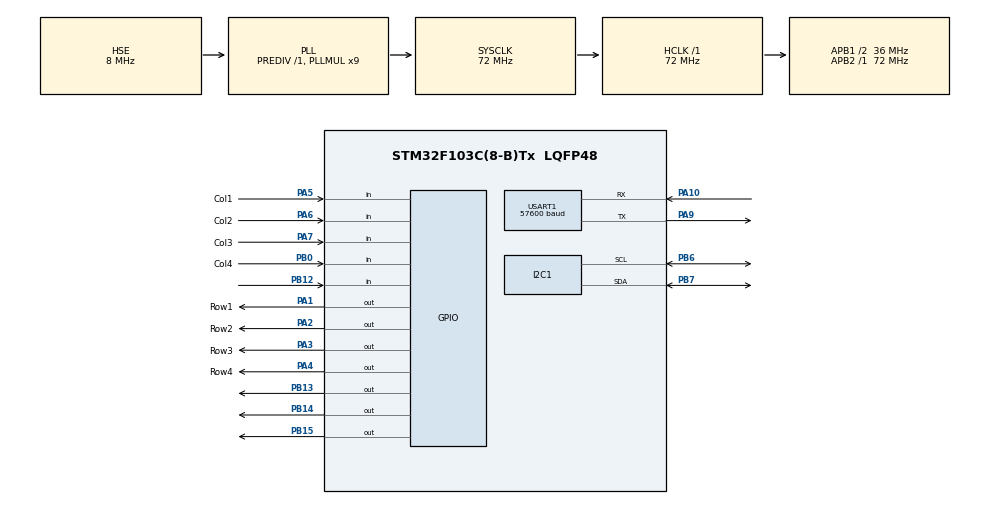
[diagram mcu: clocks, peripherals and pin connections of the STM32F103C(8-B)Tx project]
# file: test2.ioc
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FREERTOS.Tasks01=keypadTask,24,256,StartKeypadTask,Default,NULL,Dynamic,NULL,NULL;fingerTask,24,256,StartFingerprintTask,Default,NULL,Dynamic,NULL,NULL;lcdTask,8,256,StartLcdTask,Default,NULL,Dynamic,NULL,NULL;relayTask,8,256,StartRelayTask,Default,NULL,Dynamic,NULL,NULL
FREERTOS.configTOTAL_HEAP_SIZE=5000
Mcu.Family=STM32F1
Mcu.Name=STM32F103C(8-B)Tx
Mcu.Package=LQFP48
NVIC.PriorityGroup=NVIC_PRIORITYGROUP_4
PA1.GPIO_Label=Row1
PA1.Signal=GPIO_Output
PA10.Mode=Asynchronous
PA10.Signal=USART1_RX
PA13.Mode=JTAG_5_pins
PA13.Signal=SYS_JTMS-SWDIO
PA14.Mode=JTAG_5_pins
PA14.Signal=SYS_JTCK-SWCLK
PA15.Mode=JTAG_5_pins
PA15.Signal=SYS_JTDI
PA2.GPIO_Label=Row2
PA2.Signal=GPIO_Output
PA3.GPIO_Label=Row3
PA3.Signal=GPIO_Output
PA4.GPIO_Label=Row4
PA4.PinState=GPIO_PIN_RESET
PA4.Signal=GPIO_Output
PA5.GPIO_Label=Col1
PA5.GPIO_PuPd=GPIO_PULLUP
PA5.Signal=GPIO_Input
PA6.GPIO_Label=Col2
PA6.GPIO_PuPd=GPIO_PULLUP
PA6.Signal=GPIO_Input
PA7.GPIO_Label=Col3
PA7.GPIO_PuPd=GPIO_PULLUP
PA7.Signal=GPIO_Input
PA9.Mode=Asynchronous
PA9.Signal=USART1_TX
PB0.GPIO_Label=Col4
PB0.GPIO_PuPd=GPIO_PULLUP
PB0.Signal=GPIO_Input
PB12.GPIO_PuPd=GPIO_PULLUP
PB12.Signal=GPIO_Input
PB13.Signal=GPIO_Output
PB14.PinState=GPIO_PIN_SET
PB14.Signal=GPIO_Output
PB15.PinState=GPIO_PIN_SET
PB15.Signal=GPIO_Output
PB3.Mode=JTAG_5_pins
PB3.Signal=SYS_JTDO-TRACESWO
PB4.Mode=JTAG_5_pins
PB4.Signal=SYS_NJTRST
PB6.Mode=I2C
PB6.Signal=I2C1_SCL
PB7.Mode=I2C
PB7.Signal=I2C1_SDA
PD0-OSC_IN.Mode=HSE-External-Oscillator
PD0-OSC_IN.Signal=RCC_OSC_IN
PD1-OSC_OUT.Mode=HSE-External-Oscillator
PD1-OSC_OUT.Signal=RCC_OSC_OUT
ProjectManager.HeapSize=0x200
ProjectManager.StackSize=0x400
ProjectManager.TargetToolchain=STM32CubeIDE
RCC.AHBFreq_Value=72000000
RCC.APB1CLKDivider=RCC_HCLK_DIV2
RCC.APB1Freq_Value=36000000
RCC.APB1TimFreq_Value=72000000
RCC.APB2Freq_Value=72000000
RCC.APB2TimFreq_Value=72000000
RCC.HCLKFreq_Value=72000000
RCC.PLLMUL=RCC_PLL_MUL9
RCC.PLLSourceVirtual=RCC_PLLSOURCE_HSE
RCC.SYSCLKFreq_VALUE=72000000
RCC.SYSCLKSource=RCC_SYSCLKSOURCE_PLLCLK
RCC.USBFreq_Value=72000000
USART1.BaudRate=57600
USART1.VirtualMode=VM_ASYNC
VP_FREERTOS_VS_CMSIS_V2.Mode=CMSIS_V2
board=custom

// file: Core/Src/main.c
/* USER CODE BEGIN Header */
/**
  ******************************************************************************
  * @file           : main.c
  * @brief          : Main program body
  ******************************************************************************
  * @attention
  *
  * Copyright (c) 2025 STMicroelectronics.
  * All rights reserved.
  *
  * This software is licensed under terms that can be found in the LICENSE file
  * in the root directory of this software component.
  * If no LICENSE file comes with this software, it is provided AS-IS.
  *
  ******************************************************************************
  */
/* USER CODE END Header */
#include "main.h"
#include "cmsis_os.h"
#include "keypad.h"
#include "liquidcrystal_i2c.h"
#include "lcd.h"
#include <stdbool.h>
#include "fingerprint.h"
#include <stdint.h>
#include "relay.h"
#include "ssd1306.h"
#include "ssd1306_fonts.h"
#include "ds1307_for_stm32_hal.h"
#include "stdio.h"
#include "string.h"
#include "oled.h"

// Định nghĩa biến toàn cục
OLED_Mode_t oled_mode = OLED_MAIN;
volatile uint8_t finger_busy = 0; // 0 = bình thường, 1 = đang enroll
extern int change_mode; // biến bạn đang dùng trong keypad.c
uint32_t message_timestamp = 0;  // lưu thời điểm bắt đầu hiển thị message
uint32_t message_duration = 0;   // thời gian hiển thị (ms)

I2C_HandleTypeDef hi2c1;

UART_HandleTypeDef huart1;

/* Definitions for keypadTask */
osThreadId_t keypadTaskHandle;
const osThreadAttr_t keypadTask_attributes = {
  .name = "keypadTask",
  .stack_size = 256 * 4,
  .priority = (osPriority_t) osPriorityNormal,
};
/* Definitions for fingerTask */
osThreadId_t fingerTaskHandle;
const osThreadAttr_t fingerTask_attributes = {
  .name = "fingerTask",
  .stack_size = 256 * 4,
  .priority = (osPriority_t) osPriorityNormal,
};
/* Definitions for lcdTask */
osThreadId_t lcdTaskHandle;
const osThreadAttr_t lcdTask_attributes = {
  .name = "lcdTask",
  .stack_size = 256 * 4,
  .priority = (osPriority_t) osPriorityLow,
};
/* Definitions for relayTask */
osThreadId_t relayTaskHandle;
const osThreadAttr_t relayTask_attributes = {
  .name = "relayTask",
  .stack_size = 256 * 4,
  .priority = (osPriority_t) osPriorityLow,
};

void SystemClock_Config(void);
static void MX_GPIO_Init(void);
static void MX_I2C1_Init(void);
static void MX_USART1_UART_Init(void);
void StartKeypadTask(void *argument);
void StartFingerprintTask(void *argument);
void StartLcdTask(void *argument);
void StartRelayTask(void *argument);

int main(void)
{

  /* MCU Configuration--------------------------------------------------------*/

  /* Reset of all peripherals, Initializes the Flash interface and the Systick. */
  HAL_Init();

  /* Configure the system clock */
  SystemClock_Config();

  /* Initialize all configured peripherals */
  MX_GPIO_Init();
  MX_I2C1_Init();
  MX_USART1_UART_Init();
  DS1307_Init(&hi2c1);
  /* USER CODE BEGIN 2 */
  ssd1306_Init();
  init_fingerprint();      // !!! Phải gọi trước khi check hoặc enroll
  keypad_init();
  RTC_SetDateTime();

  /* USER CODE END 2 */

  /* Init scheduler */
  osKernelInitialize();

  /* Create the thread(s) */
  /* creation of keypadTask */
  keypadTaskHandle = osThreadNew(StartKeypadTask, NULL, &keypadTask_attributes);

  /* creation of fingerTask */
  fingerTaskHandle = osThreadNew(StartFingerprintTask, NULL, &fingerTask_attributes);

  /* creation of lcdTask */
  lcdTaskHandle = osThreadNew(StartLcdTask, NULL, &lcdTask_attributes);

  /* creation of relayTask */
  relayTaskHandle = osThreadNew(StartRelayTask, NULL, &relayTask_attributes);

  /* Start scheduler */
  osKernelStart();

  /* We should never get here as control is now taken by the scheduler */

  /* Infinite loop */
  while (1)
  {

  }
}

void SystemClock_Config(void)
{
  RCC_OscInitTypeDef RCC_OscInitStruct = {0};
  RCC_ClkInitTypeDef RCC_ClkInitStruct = {0};

  /** Initializes the RCC Oscillators according to the specified parameters
  * in the RCC_OscInitTypeDef structure.
  */
  RCC_OscInitStruct.OscillatorType = RCC_OSCILLATORTYPE_HSE;
  RCC_OscInitStruct.HSEState = RCC_HSE_ON;
  RCC_OscInitStruct.HSEPredivValue = RCC_HSE_PREDIV_DIV1;
  RCC_OscInitStruct.HSIState = RCC_HSI_ON;
  RCC_OscInitStruct.PLL.PLLState = RCC_PLL_ON;
  RCC_OscInitStruct.PLL.PLLSource = RCC_PLLSOURCE_HSE;
  RCC_OscInitStruct.PLL.PLLMUL = RCC_PLL_MUL9;
  if (HAL_RCC_OscConfig(&RCC_OscInitStruct) != HAL_OK)
  {
    Error_Handler();
  }

  /** Initializes the CPU, AHB and APB buses clocks
  */
  RCC_ClkInitStruct.ClockType = RCC_CLOCKTYPE_HCLK|RCC_CLOCKTYPE_SYSCLK
                              |RCC_CLOCKTYPE_PCLK1|RCC_CLOCKTYPE_PCLK2;
  RCC_ClkInitStruct.SYSCLKSource = RCC_SYSCLKSOURCE_PLLCLK;
  RCC_ClkInitStruct.AHBCLKDivider = RCC_SYSCLK_DIV1;
  RCC_ClkInitStruct.APB1CLKDivider = RCC_HCLK_DIV2;
  RCC_ClkInitStruct.APB2CLKDivider = RCC_HCLK_DIV1;

  if (HAL_RCC_ClockConfig(&RCC_ClkInitStruct, FLASH_LATENCY_2) != HAL_OK)
  {
    Error_Handler();
  }
}

static void MX_I2C1_Init(void)
{

  hi2c1.Instance = I2C1;
  hi2c1.Init.ClockSpeed = 100000;
  hi2c1.Init.DutyCycle = I2C_DUTYCYCLE_2;
  hi2c1.Init.OwnAddress1 = 0;
  hi2c1.Init.AddressingMode = I2C_ADDRESSINGMODE_7BIT;
  hi2c1.Init.DualAddressMode = I2C_DUALADDRESS_DISABLE;
  hi2c1.Init.OwnAddress2 = 0;
  hi2c1.Init.GeneralCallMode = I2C_GENERALCALL_DISABLE;
  hi2c1.Init.NoStretchMode = I2C_NOSTRETCH_DISABLE;
  if (HAL_I2C_Init(&hi2c1) != HAL_OK)
  {
    Error_Handler();
  }

}

static void MX_USART1_UART_Init(void)
{

  huart1.Instance = USART1;
  huart1.Init.BaudRate = 57600;
  huart1.Init.WordLength = UART_WORDLENGTH_8B;
  huart1.Init.StopBits = UART_STOPBITS_1;
  huart1.Init.Parity = UART_PARITY_NONE;
  huart1.Init.Mode = UART_MODE_TX_RX;
  huart1.Init.HwFlowCtl = UART_HWCONTROL_NONE;
  huart1.Init.OverSampling = UART_OVERSAMPLING_16;
  if (HAL_UART_Init(&huart1) != HAL_OK)
  {
    Error_Handler();
  }

}

static void MX_GPIO_Init(void)
{
  GPIO_InitTypeDef GPIO_InitStruct = {0};

  /* GPIO Ports Clock Enable */
  __HAL_RCC_GPIOD_CLK_ENABLE();
  __HAL_RCC_GPIOA_CLK_ENABLE();
  __HAL_RCC_GPIOB_CLK_ENABLE();

  /*Configure GPIO pin Output Level */
  HAL_GPIO_WritePin(GPIOA, Row1_Pin|Row2_Pin|Row3_Pin|Row4_Pin, GPIO_PIN_RESET);

  /*Configure GPIO pin Output Level */
    HAL_GPIO_WritePin(GPIOB, GPIO_PIN_13, GPIO_PIN_SET);

    /*Configure GPIO pin Output Level */
    HAL_GPIO_WritePin(GPIOB, GPIO_PIN_15, GPIO_PIN_SET);
    HAL_GPIO_WritePin(GPIOB, GPIO_PIN_14, GPIO_PIN_RESET);

  /*Configure GPIO pins : Row1_Pin Row2_Pin Row3_Pin Row4_Pin */
  GPIO_InitStruct.Pin = Row1_Pin|Row2_Pin|Row3_Pin|Row4_Pin;
  GPIO_InitStruct.Mode = GPIO_MODE_OUTPUT_PP;
  GPIO_InitStruct.Pull = GPIO_NOPULL;
  GPIO_InitStruct.Speed = GPIO_SPEED_FREQ_LOW;
  HAL_GPIO_Init(GPIOA, &GPIO_InitStruct);

  /*Configure GPIO pins : Col1_Pin Col2_Pin Col3_Pin */
  GPIO_InitStruct.Pin = Col1_Pin|Col2_Pin|Col3_Pin;
  GPIO_InitStruct.Mode = GPIO_MODE_INPUT;
  GPIO_InitStruct.Pull = GPIO_PULLUP;
  HAL_GPIO_Init(GPIOA, &GPIO_InitStruct);

  /*Configure GPIO pins : Col4_Pin PB12 */
  GPIO_InitStruct.Pin = Col4_Pin|GPIO_PIN_12;
  GPIO_InitStruct.Mode = GPIO_MODE_INPUT;
  GPIO_InitStruct.Pull = GPIO_PULLUP;
  HAL_GPIO_Init(GPIOB, &GPIO_InitStruct);

  /*Configure GPIO pins : PB13 PB14 PB15 */
  GPIO_InitStruct.Pin = GPIO_PIN_13|GPIO_PIN_14|GPIO_PIN_15;
  GPIO_InitStruct.Mode = GPIO_MODE_OUTPUT_PP;
  GPIO_InitStruct.Pull = GPIO_NOPULL;
  GPIO_InitStruct.Speed = GPIO_SPEED_FREQ_LOW;
  HAL_GPIO_Init(GPIOB, &GPIO_InitStruct);

}

void StartKeypadTask(void *argument)
{
  /* USER CODE BEGIN 5 */
  /* Infinite loop */
  for(;;)
  {
	  char key = keypad_scan();
	      if (key) {

	    	  HAL_GPIO_WritePin(GPIOB, GPIO_PIN_15, GPIO_PIN_RESET);
	    	  osDelay(50);
	    	  HAL_GPIO_WritePin(GPIOB, GPIO_PIN_15, GPIO_PIN_SET);
	        InputPassword(key);
	      }
	      osDelay(10);
  }
  /* USER CODE END 5 */
}

void StartFingerprintTask(void *argument)
{
  /* USER CODE BEGIN StartFingerprintTask */
  /* Infinite loop */

	for(;;)
	    {
	        if(!finger_busy) {
	            check_fingerprint_display();
	        }
	        osDelay(50);
	    }
  /* USER CODE END StartFingerprintTask */
}

void StartLcdTask(void *argument)
{
  /* USER CODE BEGIN StartLcdTask */
  /* Infinite loop */

	for(;;)
	{

		 LCD_UpdateScreen();
	    osDelay(500);
	}

  /* USER CODE END StartLcdTask */
}

void StartRelayTask(void *argument)
{
  /* USER CODE BEGIN StartRelayTask */
  /* Infinite loop */
  for(;;)
  {
	  CheckRelayTimeout();
	        osDelay(100); // kiểm tra mỗi 100ms
  }
  /* USER CODE END StartRelayTask */
}

void Error_Handler(void)
{
  __disable_irq();
  while (1)
  {
  }
}
